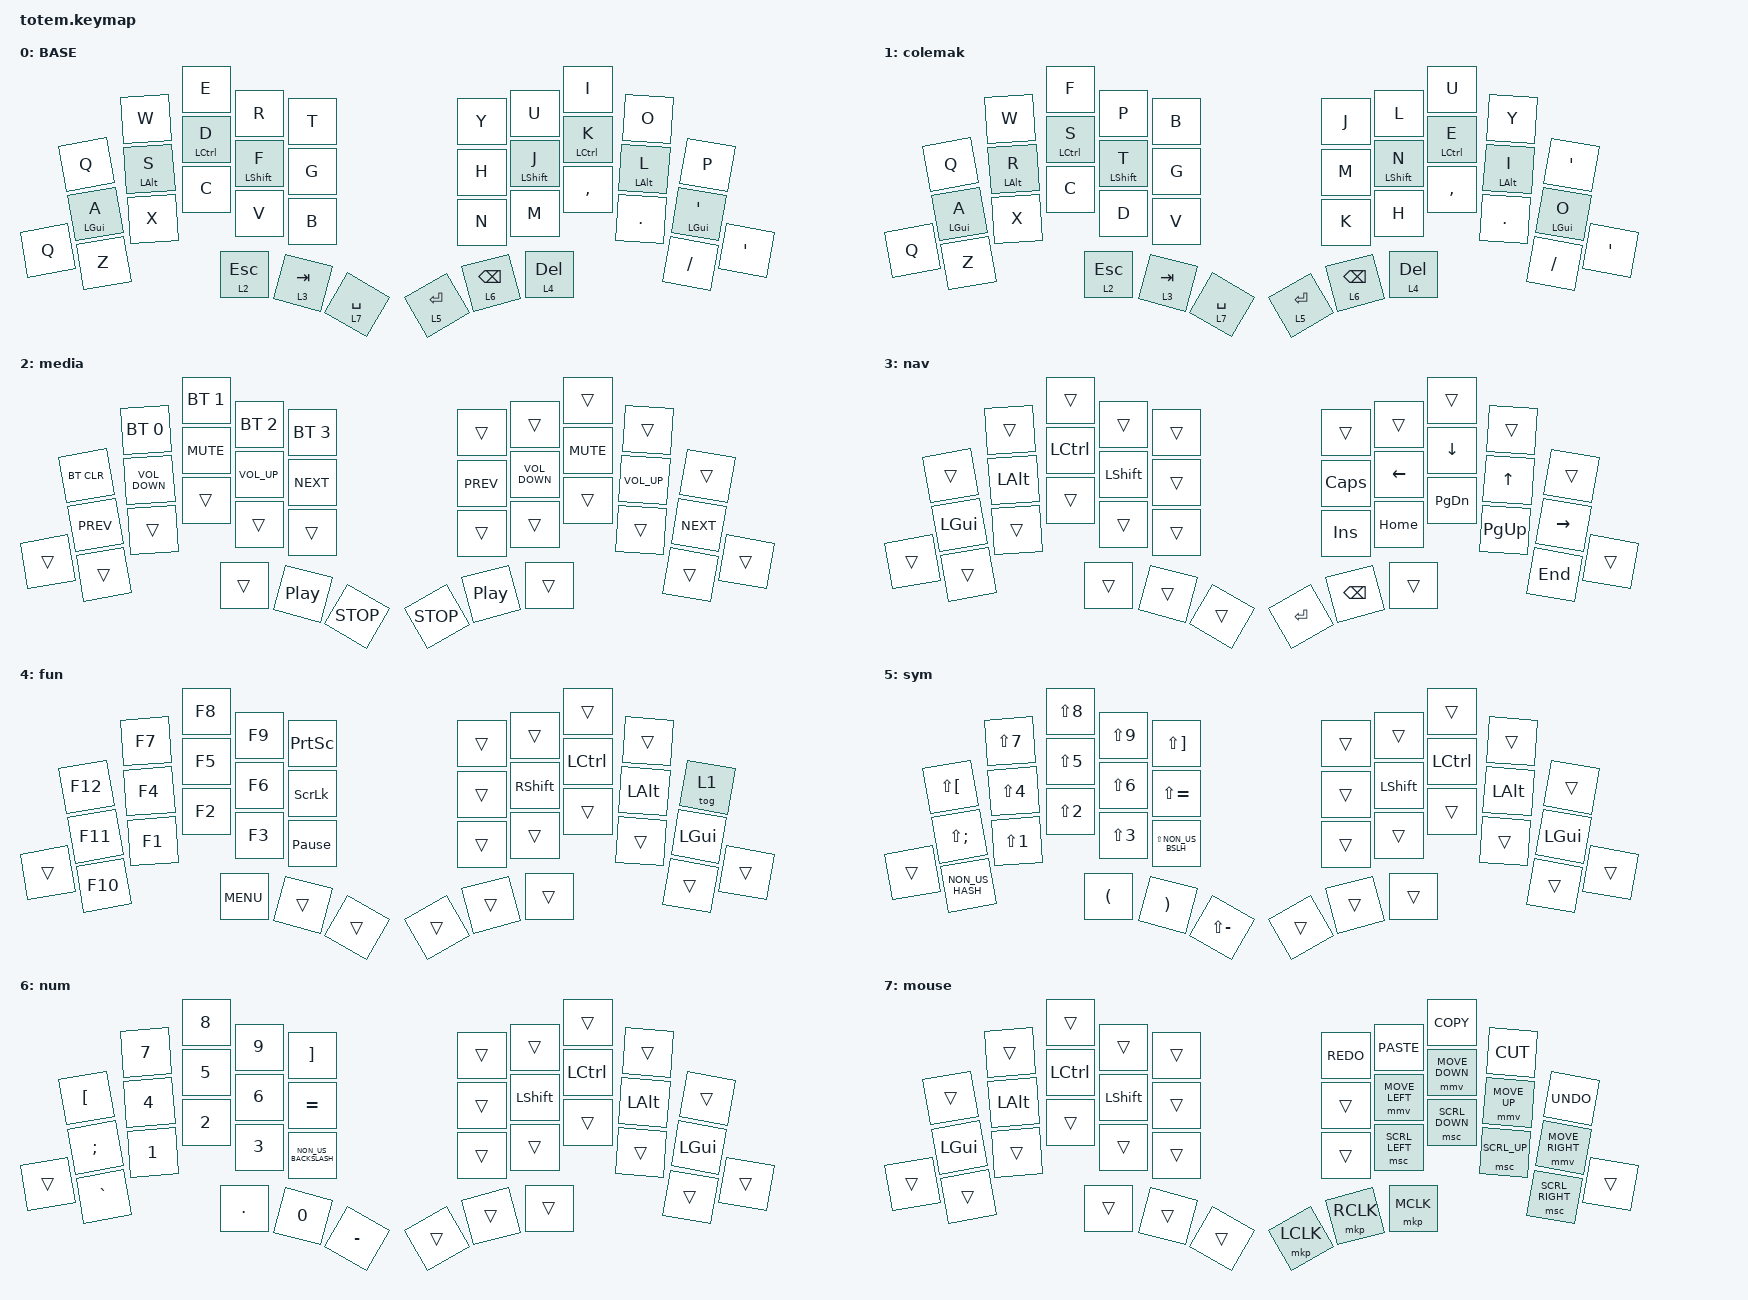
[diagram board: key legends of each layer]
//
//                                                        ▀▀▀▀▀     ▀▀▀▀▀          ▀▀█▀▀
//                                                        ▄▀▀▀▄  ▄  ▄▀▀▀▄  ▄  ▄▀▀▀▄  █  ▄▀▀▀▄
//                                                        █   █  █  █   █  █  █   █  █  █   █
//                                                         ▀▀▀   █   ▀▀▀   █   ▀▀▀   ▀   ▀▀▀
//                                                               █      ▄▄▄█▄▄▄    █   █  
//                                                               ▀      █  █  █     █▄█
//                                                             ▀▀▀▀▀    █  █  █      ▀
//                                                                      ▀  ▀  ▀
//
// ▄▄▄▄▄▄▄▄▄▄▄▄▄▄▄▄▄▄▄▄▄▄▄▄▄▄▄▄▄▄▄▄▄▄▄▄▄▄▄▄▄▄▄▄▄▄▄▄▄▄▄▄▄▄▄▄▄▄▄▄▄▄▄▄▄▄▄▄▄▄▄▄▄▄▄▄▄▄▄▄▄▄▄▄▄▄▄▄▄▄▄▄▄▄▄▄▄▄▄▄▄▄▄▄▄▄▄▄▄▄▄▄▄▄▄▄▄▄▄▄▄▄▄▄▄▄▄▄▄▄▄▄▄▄▄▄▄▄▄▄▄▄▄▄▄▄▄▄▄

#include <behaviors.dtsi>
#include <dt-bindings/zmk/bt.h>
#include <dt-bindings/zmk/keys.h>
#include <dt-bindings/zmk/pointing.h>

#define BASE 0
#define NAV  1
#define SYM  2
#define ADJ  3
#define TVP1 4
#define TVP2 5

&mt {
    quick-tap-ms = <0>;
    flavor = "tap-preferred";
    tapping-term-ms = <185>;
    require-prior-idle-ms = <0>;
};

/ {
    combos { compatible = "zmk,combos"; };

    keymap {
        compatible = "zmk,keymap";

        // ▄▄▄▄▄▄▄▄▄▄▄▄▄▄▄▄▄▄▄▄▄▄▄▄▄▄▄▄▄▄▄▄▄▄▄▄▄▄▄▄▄▄▄▄▄▄▄▄▄▄▄▄▄▄▄▄▄▄▄▄▄▄▄▄▄▄▄▄▄▄▄▄▄▄▄▄▄▄▄▄▄▄▄▄▄▄▄▄▄▄▄▄▄▄▄▄▄▄▄▄▄▄▄▄▄▄▄▄▄▄▄▄▄▄▄▄▄▄▄▄▄▄▄▄▄▄▄▄▄▄▄▄▄▄▄▄▄▄▄▄▄▄▄▄▄▄▄▄▄

        base_layer {
            // ┏━━━━━━━━━━━━━━━━━━━━━━━━━━━━━━━━━━━━━━━┓

            label = "BASE";

            // ┗━━━━━━━━━━━━━━━━━━━━━━━━━━━━━━━━━━━━━━━┛
            //             ┏━━━━━━━━━━━┳━━━━━━━━━━━┳━━━━━━━━━━━┳━━━━━━━━━━━┳━━━━━━━━━━━┓   ┏━━━━━━━━━━━┳━━━━━━━━━━━┳━━━━━━━━━━━┳━━━━━━━━━━━┳━━━━━━━━━━━┓
            //             ┃     Q     ┃     W     ┃     F     ┃     P     ┃     G     ┃   ┃     J     ┃     L     ┃     U     ┃     Y     ┃     ;     ┃
            //             ┣━━━━━━━━━━━╋━━━━━━━━━━━╋━━━━━━━━━━━╋━━━━━━━━━━━╋━━━━━━━━━━━┫   ┣━━━━━━━━━━━╋━━━━━━━━━━━╋━━━━━━━━━━━╋━━━━━━━━━━━╋━━━━━━━━━━━┫
            //             ┃     A     ┃     R     ┃     S     ┃     T     ┃     D     ┃   ┃     H     ┃     N     ┃     E     ┃     I     ┃     O     ┃
            // ┏━━━━━━━━━━━╋━━━━━━━━━━━╋━━━━━━━━━━━╋━━━━━━━━━━━╋━━━━━━━━━━━╋━━━━━━━━━━━┫   ┣━━━━━━━━━━━╋━━━━━━━━━━━╋━━━━━━━━━━━╋━━━━━━━━━━━╋━━━━━━━━━━━╋━━━━━━━━━━━┓
            // ┃     Q     ┃     Z     ┃     X     ┃     C     ┃     V     ┃     B     ┃   ┃     K     ┃     M     ┃     ,     ┃     .     ┃     /     ┃     \     ┃
            // ┗━━━━━━━━━━━┻━━━━━━━━━━━┻━━━━━━━━━━━╋━━━━━━━━━━━╋━━━━━━━━━━━╋━━━━━━━━━━━┫   ┣━━━━━━━━━━━╋━━━━━━━━━━━╋━━━━━━━━━━━╋━━━━━━━━━━━┻━━━━━━━━━━━┻━━━━━━━━━━━┛
            //                                     ┃    DEL    ┃    TAB    ┃    SPC    ┃   ┃   ENTER   ┃           ┃   BSPC    ┃
            //                                     ┗━━━━━━━━━━━┻━━━━━━━━━━━┻━━━━━━━━━━━┛   ┗━━━━━━━━━━━┻━━━━━━━━━━━┻━━━━━━━━━━━┛

            bindings = <
       &kp Q       &kp W       &kp E         &kp R        &kp T          &kp Y        &kp U            &kp I         &kp O       &kp P
       &mt LGUI A  &mt LALT S  &mt LCTRL D   &mt LSHFT F  &kp G          &kp H        &mt LSHFT J      &mt LCTRL K   &mt LALT L  &mt LGUI SQT
&kp Q  &kp Z       &kp X       &kp C         &kp V        &kp B          &kp N        &kp M            &kp COMMA     &kp DOT     &kp FSLH      &kp SQT
                               &lt 2 ESCAPE  &lt 3 TAB    &lt 7 SPACE    &lt 5 ENTER  &lt 6 BACKSPACE  &lt 4 DELETE
            >;
        };

        // ▄▄▄▄▄▄▄▄▄▄▄▄▄▄▄▄▄▄▄▄▄▄▄▄▄▄▄▄▄▄▄▄▄▄▄▄▄▄▄▄▄▄▄▄▄▄▄▄▄▄▄▄▄▄▄▄▄▄▄▄▄▄▄▄▄▄▄▄▄▄▄▄▄▄▄▄▄▄▄▄▄▄▄▄▄▄▄▄▄▄▄▄▄▄▄▄▄▄▄▄▄▄▄▄▄▄▄▄▄▄▄▄▄▄▄▄▄▄▄▄▄▄▄▄▄▄▄▄▄▄▄▄▄▄▄▄▄▄▄▄▄▄▄▄▄▄▄▄▄
        // ▄▄▄▄▄▄▄▄▄▄▄▄▄▄▄▄▄▄▄▄▄▄▄▄▄▄▄▄▄▄▄▄▄▄▄▄▄▄▄▄▄▄▄▄▄▄▄▄▄▄▄▄▄▄▄▄▄▄▄▄▄▄▄▄▄▄▄▄▄▄▄▄▄▄▄▄▄▄▄▄▄▄▄▄▄▄▄▄▄▄▄▄▄▄▄▄▄▄▄▄▄▄▄▄▄▄▄▄▄▄▄▄▄▄▄▄▄▄▄▄▄▄▄▄▄▄▄▄▄▄▄▄▄▄▄▄▄▄▄▄▄▄▄▄▄▄▄▄▄
        // ▄▄▄▄▄▄▄▄▄▄▄▄▄▄▄▄▄▄▄▄▄▄▄▄▄▄▄▄▄▄▄▄▄▄▄▄▄▄▄▄▄▄▄▄▄▄▄▄▄▄▄▄▄▄▄▄▄▄▄▄▄▄▄▄▄▄▄▄▄▄▄▄▄▄▄▄▄▄▄▄▄▄▄▄▄▄▄▄▄▄▄▄▄▄▄▄▄▄▄▄▄▄▄▄▄▄▄▄▄▄▄▄▄▄▄▄▄▄▄▄▄▄▄▄▄▄▄▄▄▄▄▄▄▄▄▄▄▄▄▄▄▄▄▄▄▄▄▄▄
        // ▄▄▄▄▄▄▄▄▄▄▄▄▄▄▄▄▄▄▄▄▄▄▄▄▄▄▄▄▄▄▄▄▄▄▄▄▄▄▄▄▄▄▄▄▄▄▄▄▄▄▄▄▄▄▄▄▄▄▄▄▄▄▄▄▄▄▄▄▄▄▄▄▄▄▄▄▄▄▄▄▄▄▄▄▄▄▄▄▄▄▄▄▄▄▄▄▄▄▄▄▄▄▄▄▄▄▄▄▄▄▄▄▄▄▄▄▄▄▄▄▄▄▄▄▄▄▄▄▄▄▄▄▄▄▄▄▄▄▄▄▄▄▄▄▄▄▄▄▄
        // ▄▄▄▄▄▄▄▄▄▄▄▄▄▄▄▄▄▄▄▄▄▄▄▄▄▄▄▄▄▄▄▄▄▄▄▄▄▄▄▄▄▄▄▄▄▄▄▄▄▄▄▄▄▄▄▄▄▄▄▄▄▄▄▄▄▄▄▄▄▄▄▄▄▄▄▄▄▄▄▄▄▄▄▄▄▄▄▄▄▄▄▄▄▄▄▄▄▄▄▄▄▄▄▄▄▄▄▄▄▄▄▄▄▄▄▄▄▄▄▄▄▄▄▄▄▄▄▄▄▄▄▄▄▄▄▄▄▄▄▄▄▄▄▄▄▄▄▄▄

        colemakdh {
            label = "colemak";
            bindings = <
       &kp Q       &kp W       &kp F         &kp P        &kp B          &kp J        &kp L            &kp U         &kp Y       &kp APOS
       &mt LGUI A  &mt LALT R  &mt LCTRL S   &mt LSHFT T  &kp G          &kp M        &mt LSHFT N      &mt LCTRL E   &mt LALT I  &mt LGUI O
&kp Q  &kp Z       &kp X       &kp C         &kp D        &kp V          &kp K        &kp H            &kp COMMA     &kp DOT     &kp FSLH    &kp SQT
                               &lt 2 ESCAPE  &lt 3 TAB    &lt 7 SPACE    &lt 5 ENTER  &lt 6 BACKSPACE  &lt 4 DELETE
            >;
        };

        media {
            bindings = <
        &bt BT_CLR  &bt BT_SEL 0       &bt BT_SEL 1  &bt BT_SEL 2      &bt BT_SEL 3    &trans      &trans             &trans      &trans           &trans
        &kp C_PREV  &kp C_VOLUME_DOWN  &kp C_MUTE    &kp C_VOLUME_UP   &kp C_NEXT      &kp C_PREV  &kp C_VOLUME_DOWN  &kp C_MUTE  &kp C_VOLUME_UP  &kp C_NEXT
&trans  &trans      &trans             &trans        &trans            &trans          &trans      &trans             &trans      &trans           &trans      &trans
                                       &trans        &kp C_PLAY_PAUSE  &kp C_STOP      &kp C_STOP  &kp C_PLAY_PAUSE   &trans
            >;
        };

        nav {
            bindings = <
        &trans    &trans    &trans     &trans          &trans    &trans        &trans         &trans     &trans        &trans
        &kp LGUI  &kp LALT  &kp LCTRL  &kp LEFT_SHIFT  &trans    &kp CAPSLOCK  &kp LEFT       &kp DOWN   &kp UP_ARROW  &kp RIGHT
&trans  &trans    &trans    &trans     &trans          &trans    &kp INSERT    &kp HOME       &kp PG_DN  &kp PG_UP     &kp END    &trans
                            &trans     &trans          &trans    &kp ENTER     &kp BACKSPACE  &trans
            >;
        };

        fun {
            bindings = <
        &kp F12  &kp F7  &kp F8      &kp F9  &kp PRINTSCREEN    &trans  &trans      &trans     &trans    &tog 1
        &kp F11  &kp F4  &kp F5      &kp F6  &kp SCROLLLOCK     &trans  &kp RSHIFT  &kp LCTRL  &kp LALT  &kp LGUI
&trans  &kp F10  &kp F1  &kp F2      &kp F3  &kp PAUSE_BREAK    &trans  &trans      &trans     &trans    &trans    &trans
                         &kp C_MENU  &trans  &trans             &trans  &trans      &trans
            >;
        };

        sym {
            bindings = <
        &kp LS(LEFT_BRACKET)  &kp LS(N7)        &kp LS(N8)            &kp LS(N9)             &kp LS(RIGHT_BRACKET)    &trans  &trans     &trans     &trans    &trans
        &kp LS(SEMICOLON)     &kp LS(NUMBER_4)  &kp LS(N5)            &kp LS(NUMBER_6)       &kp LS(EQUAL)            &trans  &kp LSHFT  &kp LCTRL  &kp LALT  &kp LGUI
&trans  &kp NON_US_HASH       &kp LS(NUMBER_1)  &kp LS(NUMBER_2)      &kp LS(NUMBER_3)       &kp LS(NON_US_BSLH)      &trans  &trans     &trans     &trans    &trans    &trans
                                                &kp LEFT_PARENTHESIS  &kp RIGHT_PARENTHESIS  &kp LS(MINUS)            &trans  &trans     &trans
            >;
        };

        num {
            bindings = <
        &kp LEFT_BRACKET  &kp N7        &kp N8        &kp N9        &kp RIGHT_BRACKET       &trans  &trans     &trans     &trans    &trans
        &kp SEMICOLON     &kp NUMBER_4  &kp N5        &kp NUMBER_6  &kp EQUAL               &trans  &kp LSHFT  &kp LCTRL  &kp LALT  &kp LGUI
&trans  &kp GRAVE         &kp NUMBER_1  &kp NUMBER_2  &kp NUMBER_3  &kp NON_US_BACKSLASH    &trans  &trans     &trans     &trans    &trans    &trans
                                        &kp PERIOD    &kp N0        &kp MINUS               &trans  &trans     &trans
            >;
        };

        mouse {
            bindings = <
        &trans    &trans        &trans     &trans      &trans    &kp K_REDO  &kp K_PASTE     &kp K_COPY      &kp K_CUT     &kp K_UNDO
        &kp LGUI  &kp LEFT_ALT  &kp LCTRL  &kp LSHIFT  &trans    &trans      &mmv MOVE_LEFT  &mmv MOVE_DOWN  &mmv MOVE_UP  &mmv MOVE_RIGHT
&trans  &trans    &trans        &trans     &trans      &trans    &trans      &msc SCRL_LEFT  &msc SCRL_DOWN  &msc SCRL_UP  &msc SCRL_RIGHT  &trans
                                &trans     &trans      &trans    &mkp LCLK   &mkp RCLK       &mkp MCLK
            >;
        };
    };
};
